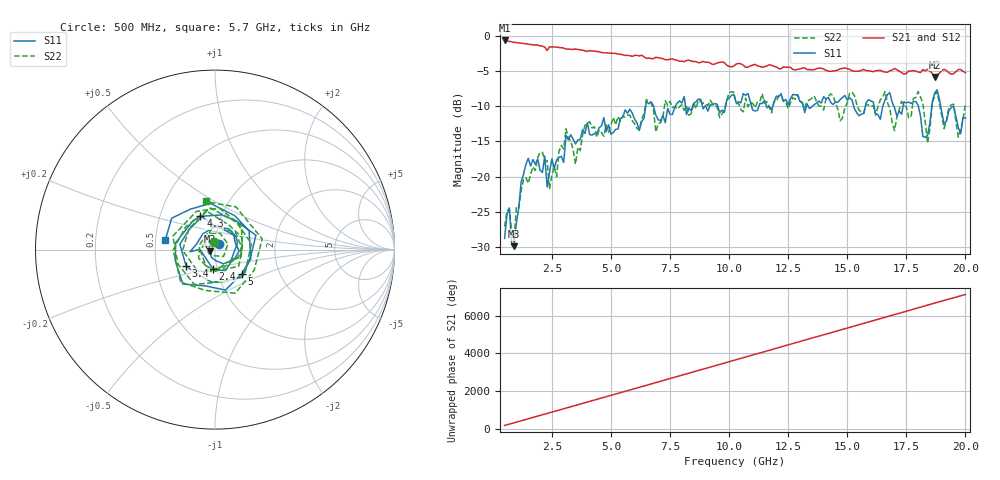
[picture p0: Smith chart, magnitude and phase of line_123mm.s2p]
!Created with skrf (http://scikit-rf.org).
# GHz S RI R 50.0
!freq ReS11 ImS11 ReS21 ImS21 ReS12 ImS12 ReS22 ImS22
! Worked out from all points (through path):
!   196 points, 500 MHz to 20 GHz, reference 50 ohm
!   highest |S21| = -0.62 dB at 500 MHz (marker M1); lowest = -5.8 dB at 18.7 GHz (marker M2)
!   lowest |S11| = -29.9 dB at 900 MHz (marker M3), VSWR 1.07, Z = 47 - j0.883 ohm
!   |S11| at or under -10 dB: start of sweep to 6.471 GHz; 6.804 GHz to 7.725 GHz (920.9 MHz wide, 12.7 % of centre); 15.27 GHz to 15.77 GHz (491.1 MHz wide, 3.16 % of centre)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
!   |S22| runs from -29.3 to -7.9 dB; largest |S21 - S12| = 0.48
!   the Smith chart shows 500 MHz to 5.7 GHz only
!   S11 on the Smith chart (normalised r, x): 500 MHz: 1.04, +0.06; 2.4 GHz: 0.96, -0.21; 3.4 GHz: 0.71, -0.13; 4.3 GHz: 0.80, +0.31; 5 GHz: 1.30, -0.36; 5.7 GHz: 0.56, +0.06
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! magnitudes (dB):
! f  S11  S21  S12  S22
! 500 MHz  -28.8  -0.6  -0.6  -27.1
! 700 MHz  -24.5  -0.8  -0.8  -24.6
! 900 MHz  -29.9  -0.9  -0.9  -29.3
! 1 GHz  -26.6  -0.9  -0.9  -24.3
! 1.5 GHz  -17.4  -1.2  -1.2  -20.9
! 2.1 GHz  -19.4  -1.4  -1.4  -16.5
! 2.4 GHz  -19.4  -1.5  -1.5  -21.8
! 3.1 GHz  -14.1  -1.9  -1.9  -13.2
! 3.4 GHz  -14.7  -1.9  -1.9  -16.2
! 3.8 GHz  -13.3  -2.0  -2.0  -14.1
! 4.3 GHz  -13.9  -2.1  -2.2  -12.9
! 5 GHz  -14.0  -2.4  -2.5  -12.6
! 5.7 GHz  -11.0  -2.7  -2.8  -11.3
! 7 GHz  -11.9  -3.1  -3.1  -12.4
! 10.3 GHz  -9.5  -4.0  -4.0  -9.6
! 13.5 GHz  -10.1  -4.8  -4.8  -8.9
! 16.8 GHz  -8.1  -4.9  -5.0  -10.3
! 18 GHz  -9.8  -5.1  -5.2  -7.9
! 18.4 GHz  -14.1  -4.7  -4.8  -15.2
! 18.7 GHz  -8.1  -5.8  -5.8  -8.5
! 19.7 GHz  -13.0  -4.8  -4.8  -14.4
! 20 GHz  -11.7  -5.2  -5.2  -9.8
